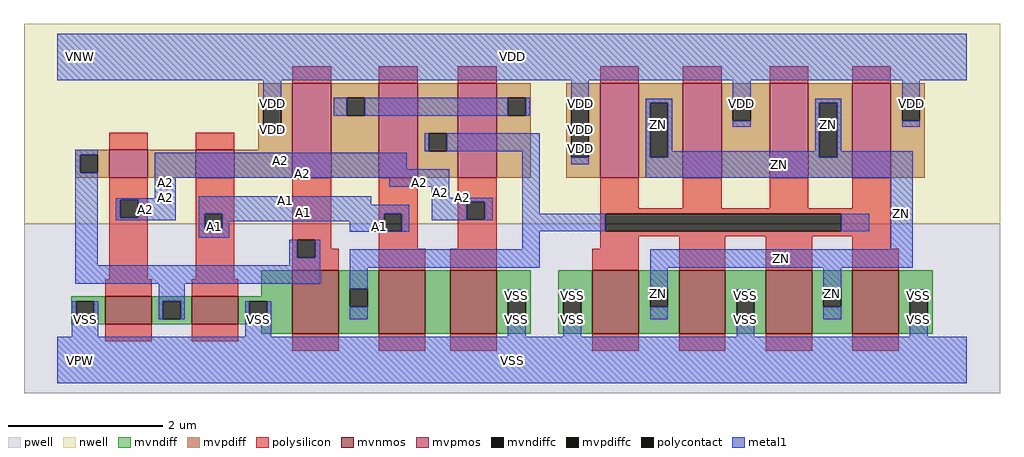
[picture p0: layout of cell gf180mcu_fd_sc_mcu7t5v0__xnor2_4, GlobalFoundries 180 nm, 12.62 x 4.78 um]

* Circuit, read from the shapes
.subckt gf180mcu_fd_sc_mcu7t5v0__xnor2_4 A1 A2 ZN VDD VNW VPW VSS
XM1 n1 A2 VSS VPW nfet_06v0 w=0.36u l=0.6u
XM2 VSS A1 n1 VPW nfet_06v0 w=0.36u l=0.6u
XM3 n2 n1 VSS VPW nfet_06v0 w=0.82u l=0.6u
XM4 n3 A1 n2 VPW nfet_06v0 w=0.82u l=0.6u
XM5 VSS A2 n3 VPW nfet_06v0 w=0.82u l=0.6u
XM6 ZN n2 VSS VPW nfet_06v0 w=0.82u l=0.6u m=4
XM7 n4 A2 n1 VNW pfet_06v0 w=0.36u l=0.5u
XM8 VDD A1 n4 VNW pfet_06v0 w=0.36u l=0.5u
XM9 n5 n1 VDD VNW pfet_06v0 w=1.22u l=0.5u
XM10 n2 A1 n5 VNW pfet_06v0 w=1.22u l=0.5u
XM11 n5 A2 n2 VNW pfet_06v0 w=1.22u l=0.5u
XM12 ZN n2 VDD VNW pfet_06v0 w=1.22u l=0.5u m=4
.ends

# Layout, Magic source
magic
tech gf180mcuD
magscale 1 10
<< nwell >>
rect -86 352 2438 870
<< pwell >>
rect -86 -86 2438 352
<< mvnmos >>
rect 124 93 244 165
rect 348 93 468 165
rect 608 68 728 232
rect 832 68 952 232
rect 1016 68 1136 232
rect 1384 68 1504 232
rect 1608 68 1728 232
rect 1832 68 1952 232
rect 2056 68 2176 232
<< mvpmos >>
rect 134 472 234 544
rect 358 472 458 544
rect 608 472 708 716
rect 832 472 932 716
rect 1036 472 1136 716
rect 1404 472 1504 716
rect 1618 472 1718 716
rect 1842 472 1942 716
rect 2056 472 2156 716
<< mvndiff >>
rect 528 165 608 232
rect 36 152 124 165
rect 36 106 49 152
rect 95 106 124 152
rect 36 93 124 106
rect 244 152 348 165
rect 244 106 273 152
rect 319 106 348 152
rect 244 93 348 106
rect 468 152 608 165
rect 468 106 497 152
rect 543 106 608 152
rect 468 93 608 106
rect 528 68 608 93
rect 728 184 832 232
rect 728 138 757 184
rect 803 138 832 184
rect 728 68 832 138
rect 952 68 1016 232
rect 1136 159 1224 232
rect 1136 113 1165 159
rect 1211 113 1224 159
rect 1136 68 1224 113
rect 1296 159 1384 232
rect 1296 113 1309 159
rect 1355 113 1384 159
rect 1296 68 1384 113
rect 1504 184 1608 232
rect 1504 138 1533 184
rect 1579 138 1608 184
rect 1504 68 1608 138
rect 1728 159 1832 232
rect 1728 113 1757 159
rect 1803 113 1832 159
rect 1728 68 1832 113
rect 1952 184 2056 232
rect 1952 138 1981 184
rect 2027 138 2056 184
rect 1952 68 2056 138
rect 2176 159 2264 232
rect 2176 113 2205 159
rect 2251 113 2264 159
rect 2176 68 2264 113
<< mvpdiff >>
rect 520 655 608 716
rect 520 609 533 655
rect 579 609 608 655
rect 520 544 608 609
rect 46 531 134 544
rect 46 485 59 531
rect 105 485 134 531
rect 46 472 134 485
rect 234 472 358 544
rect 458 472 608 544
rect 708 678 832 716
rect 708 632 749 678
rect 795 632 832 678
rect 708 472 832 632
rect 932 586 1036 716
rect 932 540 961 586
rect 1007 540 1036 586
rect 932 472 1036 540
rect 1136 678 1224 716
rect 1136 632 1165 678
rect 1211 632 1224 678
rect 1136 472 1224 632
rect 1316 665 1404 716
rect 1316 525 1329 665
rect 1375 525 1404 665
rect 1316 472 1404 525
rect 1504 665 1618 716
rect 1504 525 1533 665
rect 1579 525 1618 665
rect 1504 472 1618 525
rect 1718 665 1842 716
rect 1718 619 1747 665
rect 1793 619 1842 665
rect 1718 472 1842 619
rect 1942 665 2056 716
rect 1942 525 1971 665
rect 2017 525 2056 665
rect 1942 472 2056 525
rect 2156 665 2244 716
rect 2156 619 2185 665
rect 2231 619 2244 665
rect 2156 472 2244 619
<< mvndiffc >>
rect 49 106 95 152
rect 273 106 319 152
rect 497 106 543 152
rect 757 138 803 184
rect 1165 113 1211 159
rect 1309 113 1355 159
rect 1533 138 1579 184
rect 1757 113 1803 159
rect 1981 138 2027 184
rect 2205 113 2251 159
<< mvpdiffc >>
rect 533 609 579 655
rect 59 485 105 531
rect 749 632 795 678
rect 961 540 1007 586
rect 1165 632 1211 678
rect 1329 525 1375 665
rect 1533 525 1579 665
rect 1747 619 1793 665
rect 1971 525 2017 665
rect 2185 619 2231 665
<< polysilicon >>
rect 608 716 708 760
rect 832 716 932 760
rect 1036 716 1136 760
rect 1404 716 1504 760
rect 1618 716 1718 760
rect 1842 716 1942 760
rect 2056 716 2156 760
rect 134 544 234 588
rect 358 544 458 588
rect 134 414 234 472
rect 134 368 163 414
rect 209 368 234 414
rect 134 209 234 368
rect 358 379 458 472
rect 358 333 381 379
rect 427 333 458 379
rect 358 209 458 333
rect 608 311 708 472
rect 608 265 621 311
rect 667 288 708 311
rect 832 379 932 472
rect 832 333 845 379
rect 891 333 932 379
rect 832 288 932 333
rect 1036 409 1136 472
rect 1036 363 1059 409
rect 1105 363 1136 409
rect 1036 288 1136 363
rect 1404 392 1504 472
rect 1618 392 1718 472
rect 1842 392 1942 472
rect 2056 392 2156 472
rect 1404 379 2156 392
rect 1404 333 1417 379
rect 2027 333 2156 379
rect 1404 320 2156 333
rect 1404 288 1504 320
rect 667 265 728 288
rect 608 232 728 265
rect 832 232 952 288
rect 1016 232 1136 288
rect 1384 232 1504 288
rect 1608 232 1728 320
rect 1832 232 1952 320
rect 2056 288 2156 320
rect 2056 232 2176 288
rect 124 165 244 209
rect 348 165 468 209
rect 124 49 244 93
rect 348 49 468 93
rect 608 24 728 68
rect 832 24 952 68
rect 1016 24 1136 68
rect 1384 24 1504 68
rect 1608 24 1728 68
rect 1832 24 1952 68
rect 2056 24 2176 68
<< polycontact >>
rect 163 368 209 414
rect 381 333 427 379
rect 621 265 667 311
rect 845 333 891 379
rect 1059 363 1105 409
rect 1417 333 2027 379
<< metal1 >>
rect 0 724 2352 844
rect 533 655 579 724
rect 715 632 749 678
rect 795 632 1165 678
rect 1211 632 1222 678
rect 1329 665 1375 724
rect 533 588 579 609
rect 46 531 105 544
rect 950 540 961 586
rect 1007 540 1248 586
rect 46 485 59 531
rect 46 245 105 485
rect 252 494 904 536
rect 252 472 1014 494
rect 252 419 307 472
rect 858 448 1014 472
rect 151 414 307 419
rect 151 368 163 414
rect 209 368 307 414
rect 151 362 307 368
rect 366 402 812 424
rect 968 420 1014 448
rect 968 409 1126 420
rect 366 379 910 402
rect 366 333 381 379
rect 427 359 845 379
rect 427 333 445 359
rect 366 316 445 333
rect 757 333 845 359
rect 891 333 910 379
rect 968 363 1059 409
rect 1105 363 1126 409
rect 968 362 1126 363
rect 1202 379 1248 540
rect 1329 506 1375 525
rect 1522 665 1590 676
rect 1522 525 1533 665
rect 1579 540 1590 665
rect 1747 665 1793 724
rect 1747 603 1793 619
rect 1960 665 2028 676
rect 1960 540 1971 665
rect 1579 525 1971 540
rect 2017 540 2028 665
rect 2185 665 2231 724
rect 2185 603 2231 619
rect 2017 525 2212 540
rect 1522 472 2212 525
rect 757 332 910 333
rect 1202 333 1417 379
rect 2027 333 2100 379
rect 600 265 621 311
rect 667 265 680 311
rect 1202 286 1248 333
rect 2155 286 2212 472
rect 600 245 680 265
rect 46 198 680 245
rect 757 239 1248 286
rect 1533 239 2212 286
rect 262 152 330 198
rect 757 184 803 239
rect 38 106 49 152
rect 95 106 106 152
rect 262 106 273 152
rect 319 106 330 152
rect 486 106 497 152
rect 543 106 554 152
rect 1533 184 1579 239
rect 757 106 803 138
rect 1165 159 1211 183
rect 38 60 106 106
rect 486 60 554 106
rect 1165 60 1211 113
rect 1309 159 1355 183
rect 1309 60 1355 113
rect 1981 184 2027 239
rect 1533 106 1579 138
rect 1757 159 1803 183
rect 1757 60 1803 113
rect 1981 106 2027 138
rect 2205 159 2251 183
rect 2205 60 2251 113
rect 0 -60 2352 60
<< labels >>
flabel metal1 s 0 724 2352 844 0 FreeSans 400 0 0 0 VDD
port 4 nsew power bidirectional abutment
flabel metal1 s 2205 152 2251 183 0 FreeSans 400 0 0 0 VSS
port 7 nsew ground bidirectional abutment
flabel metal1 s 1960 540 2028 676 0 FreeSans 400 0 0 0 ZN
port 3 nsew default output
flabel metal1 s 366 402 812 424 0 FreeSans 400 0 0 0 A1
port 1 nsew default input
flabel metal1 s 252 494 904 536 0 FreeSans 400 0 0 0 A2
port 2 nsew default input
flabel nwell s 10 734 110 834 0 FreeSans 400 0 0 0 VNW
port 5 nsew power bidirectional
flabel pwell s 10 -50 110 50 0 FreeSans 400 0 0 0 VPW
port 6 nsew ground bidirectional
rlabel metal1 s 366 359 910 402 1 A1
port 1 nsew default input
rlabel metal1 s 757 332 910 359 1 A1
port 1 nsew default input
rlabel metal1 s 366 332 445 359 1 A1
port 1 nsew default input
rlabel metal1 s 366 316 445 332 1 A1
port 1 nsew default input
rlabel metal1 s 252 472 1014 494 1 A2
port 2 nsew default input
rlabel metal1 s 858 448 1014 472 1 A2
port 2 nsew default input
rlabel metal1 s 252 448 307 472 1 A2
port 2 nsew default input
rlabel metal1 s 968 420 1014 448 1 A2
port 2 nsew default input
rlabel metal1 s 252 420 307 448 1 A2
port 2 nsew default input
rlabel metal1 s 968 419 1126 420 1 A2
port 2 nsew default input
rlabel metal1 s 252 419 307 420 1 A2
port 2 nsew default input
rlabel metal1 s 968 362 1126 419 1 A2
port 2 nsew default input
rlabel metal1 s 151 362 307 419 1 A2
port 2 nsew default input
rlabel metal1 s 1522 540 1590 676 1 ZN
port 3 nsew default output
rlabel metal1 s 1522 472 2212 540 1 ZN
port 3 nsew default output
rlabel metal1 s 2155 286 2212 472 1 ZN
port 3 nsew default output
rlabel metal1 s 1533 239 2212 286 1 ZN
port 3 nsew default output
rlabel metal1 s 1981 106 2027 239 1 ZN
port 3 nsew default output
rlabel metal1 s 1533 106 1579 239 1 ZN
port 3 nsew default output
rlabel metal1 s 2185 603 2231 724 1 VDD
port 4 nsew power bidirectional abutment
rlabel metal1 s 1747 603 1793 724 1 VDD
port 4 nsew power bidirectional abutment
rlabel metal1 s 1329 603 1375 724 1 VDD
port 4 nsew power bidirectional abutment
rlabel metal1 s 533 603 579 724 1 VDD
port 4 nsew power bidirectional abutment
rlabel metal1 s 1329 588 1375 603 1 VDD
port 4 nsew power bidirectional abutment
rlabel metal1 s 533 588 579 603 1 VDD
port 4 nsew power bidirectional abutment
rlabel metal1 s 1329 506 1375 588 1 VDD
port 4 nsew power bidirectional abutment
rlabel metal1 s 1757 152 1803 183 1 VSS
port 7 nsew ground bidirectional abutment
rlabel metal1 s 1309 152 1355 183 1 VSS
port 7 nsew ground bidirectional abutment
rlabel metal1 s 1165 152 1211 183 1 VSS
port 7 nsew ground bidirectional abutment
rlabel metal1 s 2205 60 2251 152 1 VSS
port 7 nsew ground bidirectional abutment
rlabel metal1 s 1757 60 1803 152 1 VSS
port 7 nsew ground bidirectional abutment
rlabel metal1 s 1309 60 1355 152 1 VSS
port 7 nsew ground bidirectional abutment
rlabel metal1 s 1165 60 1211 152 1 VSS
port 7 nsew ground bidirectional abutment
rlabel metal1 s 486 60 554 152 1 VSS
port 7 nsew ground bidirectional abutment
rlabel metal1 s 38 60 106 152 1 VSS
port 7 nsew ground bidirectional abutment
rlabel metal1 s 0 -60 2352 60 1 VSS
port 7 nsew ground bidirectional abutment
<< properties >>
string FIXED_BBOX 0 0 2352 784
string GDS_END 334892
string GDS_FILE $PDKPATH/libs.ref/gf180mcu_fd_sc_mcu7t5v0/gds/gf180mcu_fd_sc_mcu7t5v0.gds
string GDS_START 329162
string LEFclass core
string LEFsite GF018hv5v_mcu_sc7
string LEFsymmetry X Y
<< end >>
